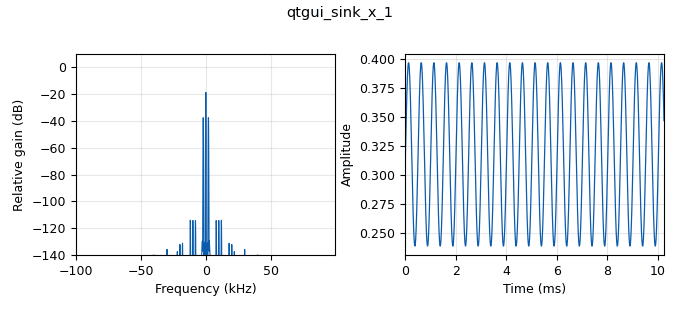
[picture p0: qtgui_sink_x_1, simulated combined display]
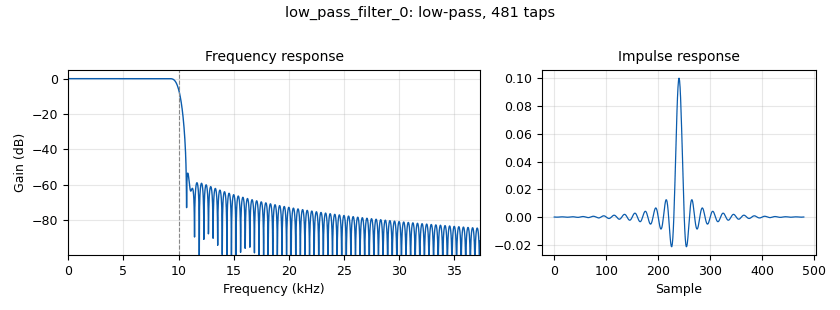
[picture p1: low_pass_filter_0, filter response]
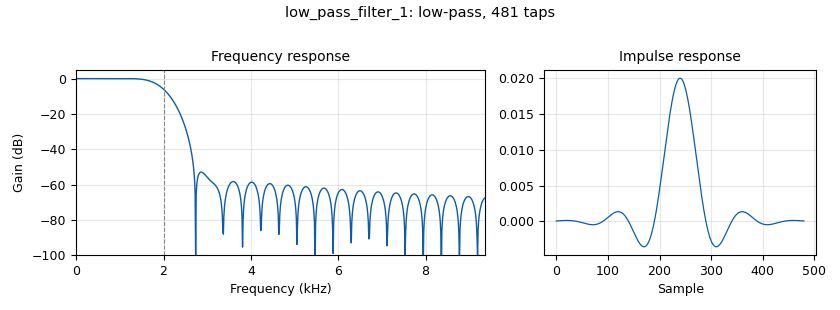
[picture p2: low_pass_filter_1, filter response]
options:
  parameters:
    author: mark
    generate_options: qt_gui
    id: ex1am
    output_language: python
    title: Amplitude Modulation
  states: {}

blocks:
- name: Rx_freq
  id: variable
  parameters:
    value: 15e3
  states: {}
- name: Tx_freq
  id: variable
  parameters:
    value: 20e3
  states: {}
- name: freq
  id: variable
  parameters:
    value: 2e3
  states: {}
- name: samp_rate
  id: variable
  parameters:
    value: 200e3
  states: {}
- name: analog_const_source_x_0
  id: analog_const_source_x
  parameters:
    const: '1'
    type: float
  states: {}
- name: analog_sig_source_x_0
  id: analog_sig_source_x
  parameters:
    amp: '1'
    freq: freq
    offset: '0'
    phase: '0'
    samp_rate: samp_rate
    type: float
    waveform: analog.GR_COS_WAVE
  states: {}
- name: analog_sig_source_x_1
  id: analog_sig_source_x
  parameters:
    amp: '1'
    freq: Tx_freq
    offset: '0'
    phase: '0'
    samp_rate: samp_rate
    type: float
    waveform: analog.GR_COS_WAVE
  states: {}
- name: analog_sig_source_x_2
  id: analog_sig_source_x
  parameters:
    amp: '1'
    freq: Rx_freq
    offset: '0'
    phase: '0'
    samp_rate: samp_rate
    type: float
    waveform: analog.GR_COS_WAVE
  states: {}
- name: blocks_abs_xx_0
  id: blocks_abs_xx
  parameters:
    type: float
  states: {}
- name: blocks_add_xx_0
  id: blocks_add_xx
  parameters:
    type: float
  states: {}
- name: blocks_multiply_const_vxx_0
  id: blocks_multiply_const_vxx
  parameters:
    const: '.5'
    type: float
  states: {}
- name: blocks_multiply_xx_0
  id: blocks_multiply_xx
  parameters:
    type: float
  states: {}
- name: blocks_multiply_xx_1
  id: blocks_multiply_xx
  parameters:
    type: float
  states: {}
- name: blocks_throttle2_0
  id: blocks_throttle2
  parameters:
    samples_per_second: samp_rate
    type: float
  states: {}
- name: low_pass_filter_0
  id: low_pass_filter
  parameters:
    cutoff_freq: 10e3
    decim: '1'
    gain: '1'
    samp_rate: samp_rate
    type: fir_filter_fff
    width: 1e3
    win: window.WIN_HAMMING
  states: {}
- name: low_pass_filter_1
  id: low_pass_filter
  parameters:
    cutoff_freq: 2e3
    decim: '1'
    gain: '1'
    samp_rate: samp_rate
    type: fir_filter_fff
    width: 1e3
    win: window.WIN_HAMMING
  states: {}
- name: qtgui_sink_x_1
  id: qtgui_sink_x
  parameters:
    bw: samp_rate
    fc: '0'
    fftsize: '2048'
    type: float
  states: {}

connections:
- [analog_const_source_x_0, '0', blocks_add_xx_0, '0']
- [analog_sig_source_x_0, '0', blocks_throttle2_0, '0']
- [analog_sig_source_x_1, '0', blocks_multiply_xx_0, '1']
- [analog_sig_source_x_2, '0', blocks_multiply_xx_1, '1']
- [blocks_abs_xx_0, '0', low_pass_filter_1, '0']
- [blocks_add_xx_0, '0', blocks_multiply_xx_0, '0']
- [blocks_multiply_const_vxx_0, '0', blocks_add_xx_0, '1']
- [blocks_multiply_xx_0, '0', blocks_multiply_xx_1, '0']
- [blocks_multiply_xx_1, '0', low_pass_filter_0, '0']
- [blocks_throttle2_0, '0', blocks_multiply_const_vxx_0, '0']
- [low_pass_filter_0, '0', blocks_abs_xx_0, '0']
- [low_pass_filter_1, '0', qtgui_sink_x_1, '0']

metadata:
  file_format: 1
  grc_version: 3.10.7.0
